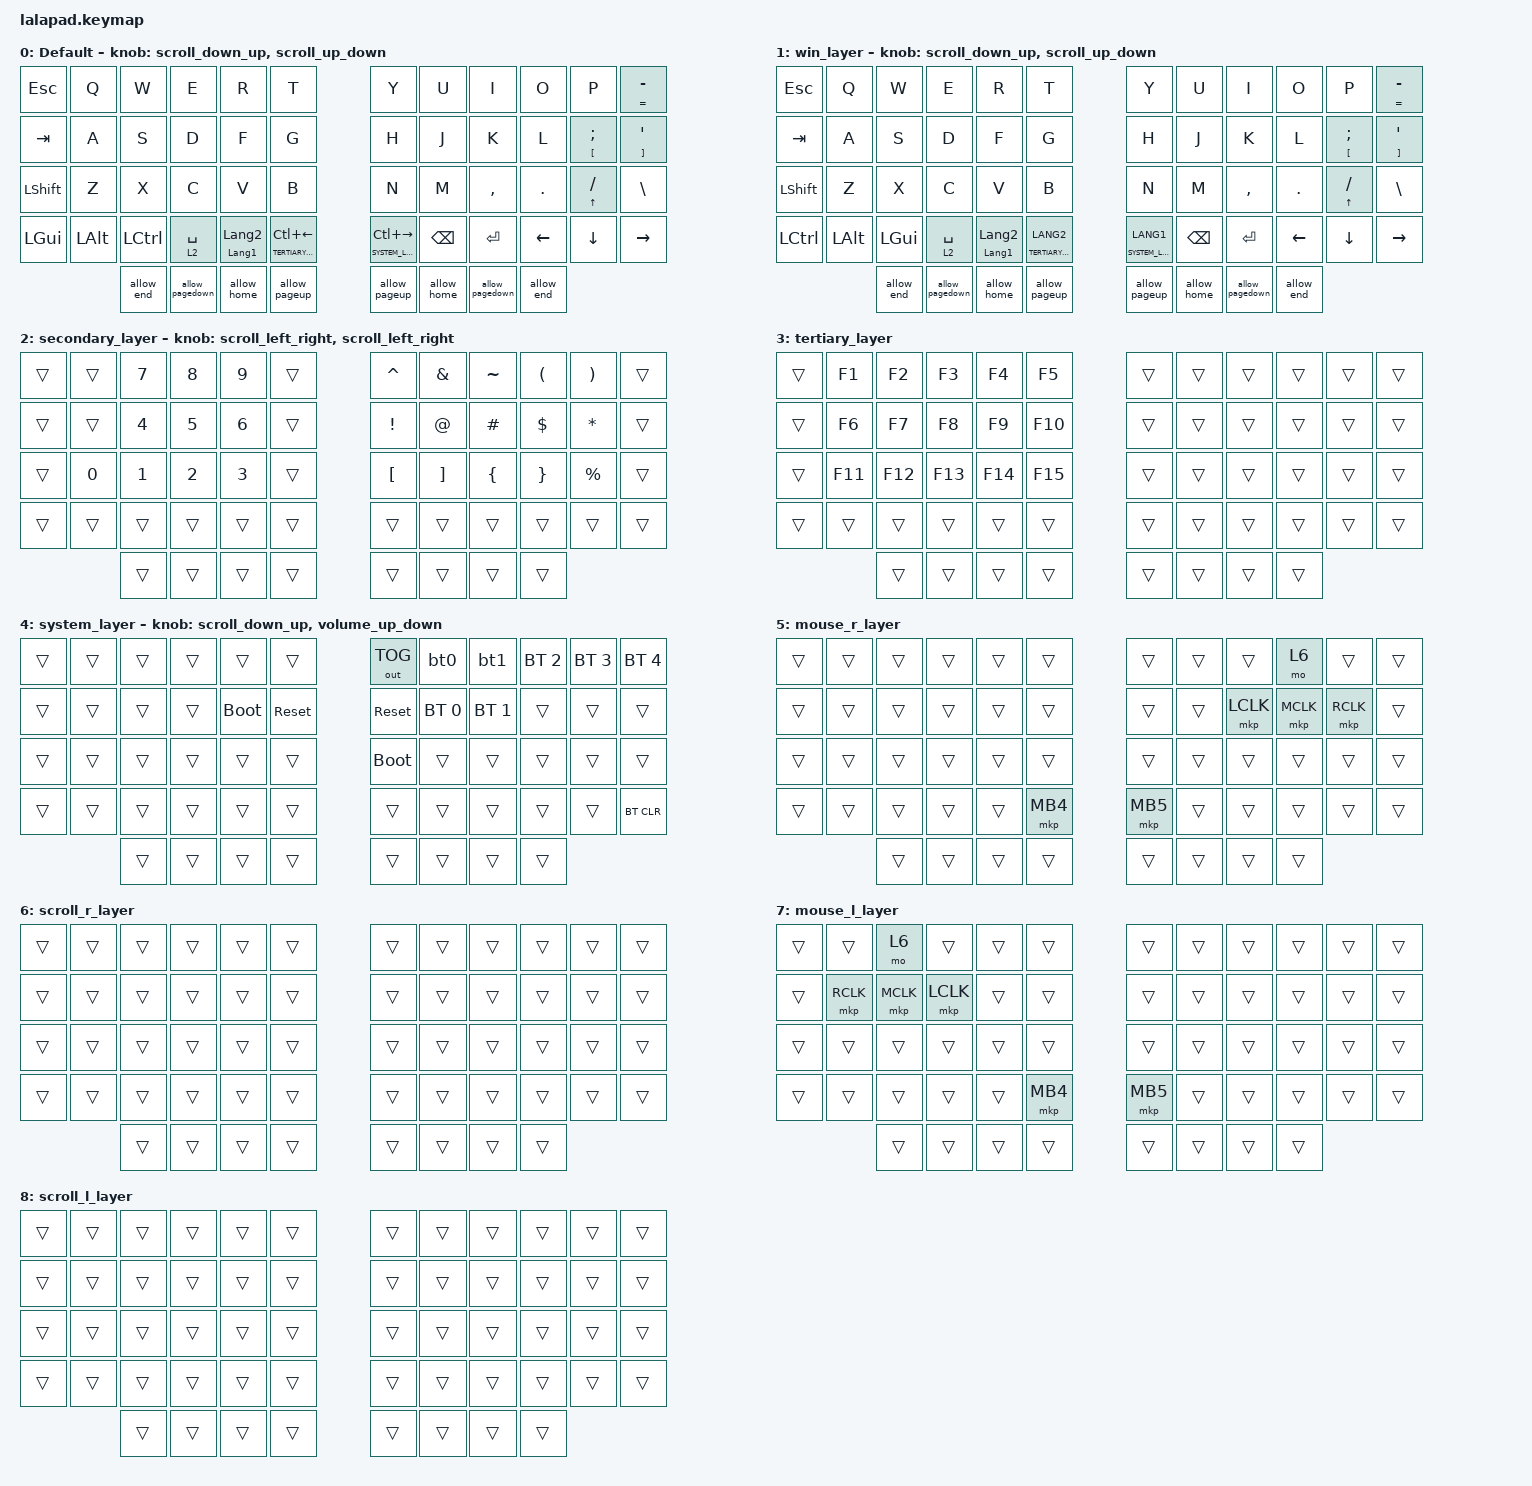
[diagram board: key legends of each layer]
#include <input/processors.dtsi>
#include <behaviors.dtsi>
#include <dt-bindings/zmk/bt.h>
#include <dt-bindings/zmk/keys.h>
#include <dt-bindings/zmk/outputs.h>
#include <dt-bindings/zmk/pointing.h>

#define DEFAULT_LAYER   0
#define WIN_LAYER       1
#define SECONDARY_LAYER 2
#define TERTIARY_LAYER  3
#define SYSTEM_LAYER    4
#define MOUSE_R_LAYER   5
#define SCROLL_R_LAYER  6
#define MOUSE_L_LAYER   7
#define SCROLL_L_LAYER  8

// Mouse Scroll Value

#define ZMK_POINTING_DEFAULT_SCRL_VAL 100

// cirque trackpad input&layer control

&glidepoint_listener_R {
    input-processors =
        <&zip_xy_transform (INPUT_TRANSFORM_XY_SWAP | INPUT_TRANSFORM_X_INVERT | INPUT_TRANSFORM_Y_INVERT)>,
        <&zip_xy_scaler 5 2>,
        <&zip_temp_layer MOUSE_R_LAYER 500>;

    lowspeedmode {
        layers = <SECONDARY_LAYER>;
        input-processors =
            <&zip_xy_transform (INPUT_TRANSFORM_XY_SWAP | INPUT_TRANSFORM_X_INVERT | INPUT_TRANSFORM_Y_INVERT)>,
            <&zip_xy_scaler 3 5>,
            <&zip_temp_layer MOUSE_R_LAYER 500>;
    };

    scroller {
        layers = <SCROLL_R_LAYER>;
        input-processors =
            <&zip_xy_to_scroll_mapper>,
            <&zip_scroll_transform (INPUT_TRANSFORM_XY_SWAP | INPUT_TRANSFORM_Y_INVERT)>,
            <&zip_scroll_scaler 1 8>;
    };
};

&glidepoint_listener_L {
    input-processors =
        <&zip_xy_transform (INPUT_TRANSFORM_XY_SWAP | INPUT_TRANSFORM_X_INVERT | INPUT_TRANSFORM_Y_INVERT)>,
        <&zip_xy_scaler 5 2>,
        <&zip_temp_layer MOUSE_L_LAYER 500>;

    lowspeedmode {
        layers = <SECONDARY_LAYER>;
        input-processors =
            <&zip_xy_transform (INPUT_TRANSFORM_XY_SWAP | INPUT_TRANSFORM_X_INVERT | INPUT_TRANSFORM_Y_INVERT)>,
            <&zip_xy_scaler 3 4>,
            <&zip_temp_layer MOUSE_L_LAYER 500>;
    };

    scroller {
        layers = <SCROLL_L_LAYER>;
        input-processors =
            <&zip_xy_to_scroll_mapper>,
            <&zip_scroll_transform (INPUT_TRANSFORM_XY_SWAP | INPUT_TRANSFORM_Y_INVERT)>,
            <&zip_scroll_scaler 1 6>;
    };
};

/ {
    behaviors {
        // Encoder to Mouse Scroll

        scroll_up_down: behavior_sensor_rotate_mouse_wheel_up_down {
            compatible = "zmk,behavior-sensor-rotate";
            #sensor-binding-cells = <0>;
            bindings = <&msc SCRL_UP>, <&msc SCRL_DOWN>;

            tap-ms = <20>;
        };

        scroll_down_up: behavior_sensor_rotate_mouse_wheel_down_up {
            compatible = "zmk,behavior-sensor-rotate";
            #sensor-binding-cells = <0>;
            bindings = <&msc SCRL_DOWN>, <&msc SCRL_UP>;

            tap-ms = <20>;
        };

        scroll_left_right: behavior_sensor_rotate_mouse_wheel_left_right {
            compatible = "zmk,behavior-sensor-rotate";
            #sensor-binding-cells = <0>;
            bindings = <&msc SCRL_LEFT>, <&msc SCRL_RIGHT>;

            tap-ms = <20>;
        };

        scroll_right_left: behavior_sensor_rotate_mouse_wheel_right_left {
            compatible = "zmk,behavior-sensor-rotate";
            #sensor-binding-cells = <0>;
            bindings = <&msc SCRL_RIGHT>, <&msc SCRL_LEFT>;

            tap-ms = <20>;
        };

        volume_up_down: behavior_sensor_rotate_volume_up_down {
            compatible = "zmk,behavior-sensor-rotate";
            #sensor-binding-cells = <0>;
            bindings = <&kp C_VOLUME_UP>, <&kp C_VOLUME_DOWN>;

            tap-ms = <20>;
        };

        dot_comma: dot_comma {
            compatible = "zmk,behavior-mod-morph";
            #binding-cells = <0>;
            bindings = <&kp KP_DOT>, <&kp COMMA>;

            mods = <(MOD_LSFT|MOD_RSFT)>;
            label = "DOT_COMMA";
        };

        pls_minus: pls_minus {
            compatible = "zmk,behavior-mod-morph";
            #binding-cells = <0>;
            bindings = <&kp PLUS>, <&kp MINUS>;

            mods = <(MOD_LSFT|MOD_RSFT)>;
            label = "PLS_MINUS";
        };

        allow_pageup: allow_pageup {
            compatible = "zmk,behavior-mod-morph";
            #binding-cells = <0>;
            bindings = <&kp UP>, <&kp PAGE_UP>;

            mods = <(MOD_LCTL|MOD_RCTL)>;
            label = "ALLOW_PAGEUP";
        };

        allow_pagedown: allow_pagedown {
            compatible = "zmk,behavior-mod-morph";
            #binding-cells = <0>;
            bindings = <&kp DOWN>, <&kp PAGE_DOWN>;

            mods = <(MOD_LCTL|MOD_RCTL)>;
            label = "ALLOW_PAGEDOWN";
        };

        allow_home: allow_home {
            compatible = "zmk,behavior-mod-morph";
            #binding-cells = <0>;
            bindings = <&kp LEFT>, <&kp HOME>;

            mods = <(MOD_LCTL|MOD_RCTL)>;
            label = "ALLOW_HOME";
        };

        allow_end: allow_end {
            compatible = "zmk,behavior-mod-morph";
            #binding-cells = <0>;
            bindings = <&kp RIGHT>, <&kp END>;

            mods = <(MOD_LCTL|MOD_RCTL)>;
            label = "ALLOW_END";
        };

        mt2: mod_tap2 {
            compatible = "zmk,behavior-hold-tap";
            #binding-cells = <2>;
            flavor = "tap-preferred";
            tapping-term-ms = <200>;
            quick-tap-ms = <200>;
            require-prior-idle-ms = <125>;
            bindings = <&kp>, <&kp>;
        };

        qtog_on: toggle_layer_on_only {
            compatible = "zmk,behavior-toggle-layer";
            #binding-cells = <1>;
            display-name = "Toggle Layer On";
            toggle-mode = "on";
        };

        tog_off: toggle_layer_off_only {
            compatible = "zmk,behavior-toggle-layer";
            #binding-cells = <1>;
            display-name = "Toggle Layer Off";
            toggle-mode = "off";
        };
    };

    macros {
        bt0: bt0 {
            compatible = "zmk,behavior-macro";
            #binding-cells = <0>;
            bindings =
                <&tog_off 0 &tog_off 1>,
                <&macro_wait_time 200>,
                <&bt BT_SEL 0>,
                <&macro_wait_time 500>,
                <&qtog_on 0>;

            label = "BT0";
        };

        bt1: bt1 {
            compatible = "zmk,behavior-macro";
            #binding-cells = <0>;
            bindings =
                <&tog_off 0 &tog_off 1>,
                <&macro_wait_time 200>,
                <&bt BT_SEL 1>,
                <&macro_wait_time 500>,
                <&qtog_on 1>;

            label = "BT1";
        };
    };

    keymap {
        compatible = "zmk,keymap";

        DEFAULT_LAYER {
            display-name = "Default";
            sensor-bindings = <&scroll_down_up>, <&scroll_up_down>;

            bindings = <
&kp ESCAPE    &kp Q         &kp W             &kp E            &kp R                      &kp T                              &kp Y                             &kp U          &kp I            &kp O       &kp P           &mt EQUAL MINUS
&kp TAB       &kp A         &kp S             &kp D            &kp F                      &kp G                              &kp H                             &kp J          &kp K            &kp L       &mt2 LBKT SEMI  &mt2 RBKT SQT
&kp LSHFT     &kp Z         &kp X             &kp C            &kp V                      &kp B                              &kp N                             &kp M          &kp COMMA        &kp PERIOD  &mt2 UP SLASH   &kp BSLH
&kp LEFT_GUI  &kp LEFT_ALT  &kp LEFT_CONTROL  &lt 2 SPACE      &mt LANGUAGE_1 LANGUAGE_2  &lt TERTIARY_LAYER LC(LEFT_ARROW)  &lt SYSTEM_LAYER LC(RIGHT_ARROW)  &kp BACKSPACE  &kp RET          &kp LEFT    &kp DOWN        &kp RIGHT
                            &allow_end        &allow_pagedown  &allow_home                &allow_pageup                      &allow_pageup                     &allow_home    &allow_pagedown  &allow_end
            >;
        };

        WIN_LAYER {
            display-name = "win_layer";
            sensor-bindings = <&scroll_down_up>, <&scroll_up_down>;

            bindings = <
&kp ESCAPE        &kp Q         &kp W         &kp E            &kp R                      &kp T                     &kp Y                   &kp U          &kp I            &kp O       &kp P           &mt EQUAL MINUS
&kp TAB           &kp A         &kp S         &kp D            &kp F                      &kp G                     &kp H                   &kp J          &kp K            &kp L       &mt2 LBKT SEMI  &mt2 RBKT SQT
&kp LSHFT         &kp Z         &kp X         &kp C            &kp V                      &kp B                     &kp N                   &kp M          &kp COMMA        &kp PERIOD  &mt2 UP SLASH   &kp BSLH
&kp LEFT_CONTROL  &kp LEFT_ALT  &kp LEFT_GUI  &lt 2 SPACE      &mt LANGUAGE_1 LANGUAGE_2  &lt TERTIARY_LAYER LANG2  &lt SYSTEM_LAYER LANG1  &kp BACKSPACE  &kp RET          &kp LEFT    &kp DOWN        &kp RIGHT
                                &allow_end    &allow_pagedown  &allow_home                &allow_pageup             &allow_pageup           &allow_home    &allow_pagedown  &allow_end
            >;
        };

        SECONDARY_LAYER {
            display-name = "secondary_layer";
            sensor-bindings = <&scroll_left_right>, <&scroll_left_right>;

            bindings = <
&trans  &trans        &kp N7        &kp N8        &kp N9        &trans  &kp CARET         &kp AMPERSAND      &kp TILDE       &kp LEFT_PARENTHESIS  &kp RIGHT_PARENTHESIS  &trans
&trans  &trans        &kp NUMBER_4  &kp N5        &kp NUMBER_6  &trans  &kp EXCLAMATION   &kp AT_SIGN        &kp HASH        &kp DLLR              &kp ASTRK              &trans
&trans  &kp NUMBER_0  &kp NUMBER_1  &kp NUMBER_2  &kp NUMBER_3  &trans  &kp LEFT_BRACKET  &kp RIGHT_BRACKET  &kp LEFT_BRACE  &kp RIGHT_BRACE       &kp PERCENT            &trans
&trans  &trans        &trans        &trans        &trans        &trans  &trans            &trans             &trans          &trans                &trans                 &trans
                      &trans        &trans        &trans        &trans  &trans            &trans             &trans          &trans
            >;
        };

        TERTIARY_LAYER {
            display-name = "tertiary_layer";
            bindings = <
&trans  &kp F1   &kp F2   &kp F3   &kp F4   &kp F5   &trans  &trans  &trans  &trans  &trans  &trans
&trans  &kp F6   &kp F7   &kp F8   &kp F9   &kp F10  &trans  &trans  &trans  &trans  &trans  &trans
&trans  &kp F11  &kp F12  &kp F13  &kp F14  &kp F15  &trans  &trans  &trans  &trans  &trans  &trans
&trans  &trans   &trans   &trans   &trans   &trans   &trans  &trans  &trans  &trans  &trans  &trans
                 &trans   &trans   &trans   &trans   &trans  &trans  &trans  &trans
            >;
        };

        SYSTEM_LAYER {
            display-name = "system_layer";
            sensor-bindings = <&scroll_down_up>, <&volume_up_down>;

            bindings = <
&trans  &trans  &trans  &trans  &trans       &trans      &out OUT_TOG  &bt0          &bt1          &bt BT_SEL 2  &bt BT_SEL 3  &bt BT_SEL 4
&trans  &trans  &trans  &trans  &bootloader  &sys_reset  &sys_reset    &bt BT_SEL 0  &bt BT_SEL 1  &trans        &trans        &trans
&trans  &trans  &trans  &trans  &trans       &trans      &bootloader   &trans        &trans        &trans        &trans        &trans
&trans  &trans  &trans  &trans  &trans       &trans      &trans        &trans        &trans        &trans        &trans        &bt BT_CLR
                &trans  &trans  &trans       &trans      &trans        &trans        &trans        &trans
            >;
        };

        MOUSE_R_LAYER {
            display-name = "mouse_r_layer";
            bindings = <
&trans  &trans  &trans  &trans  &trans  &trans    &trans    &trans  &trans     &mo 6      &trans     &trans
&trans  &trans  &trans  &trans  &trans  &trans    &trans    &trans  &mkp LCLK  &mkp MCLK  &mkp RCLK  &trans
&trans  &trans  &trans  &trans  &trans  &trans    &trans    &trans  &trans     &trans     &trans     &trans
&trans  &trans  &trans  &trans  &trans  &mkp MB4  &mkp MB5  &trans  &trans     &trans     &trans     &trans
                &trans  &trans  &trans  &trans    &trans    &trans  &trans     &trans
            >;
        };

        SCROLL_R_LAYER {
            display-name = "scroll_r_layer";
            bindings = <
&trans  &trans  &trans  &trans  &trans  &trans  &trans  &trans  &trans  &trans  &trans  &trans
&trans  &trans  &trans  &trans  &trans  &trans  &trans  &trans  &trans  &trans  &trans  &trans
&trans  &trans  &trans  &trans  &trans  &trans  &trans  &trans  &trans  &trans  &trans  &trans
&trans  &trans  &trans  &trans  &trans  &trans  &trans  &trans  &trans  &trans  &trans  &trans
                &trans  &trans  &trans  &trans  &trans  &trans  &trans  &trans
            >;
        };

        MOUSE_L_LAYER {
            display-name = "mouse_l_layer";
            bindings = <
&trans  &trans     &mo 6      &trans     &trans  &trans    &trans    &trans  &trans  &trans  &trans  &trans
&trans  &mkp RCLK  &mkp MCLK  &mkp LCLK  &trans  &trans    &trans    &trans  &trans  &trans  &trans  &trans
&trans  &trans     &trans     &trans     &trans  &trans    &trans    &trans  &trans  &trans  &trans  &trans
&trans  &trans     &trans     &trans     &trans  &mkp MB4  &mkp MB5  &trans  &trans  &trans  &trans  &trans
                   &trans     &trans     &trans  &trans    &trans    &trans  &trans  &trans
            >;
        };

        SCROLL_L_LAYER {
            display-name = "scroll_l_layer";
            bindings = <
&trans  &trans  &trans  &trans  &trans  &trans  &trans  &trans  &trans  &trans  &trans  &trans
&trans  &trans  &trans  &trans  &trans  &trans  &trans  &trans  &trans  &trans  &trans  &trans
&trans  &trans  &trans  &trans  &trans  &trans  &trans  &trans  &trans  &trans  &trans  &trans
&trans  &trans  &trans  &trans  &trans  &trans  &trans  &trans  &trans  &trans  &trans  &trans
                &trans  &trans  &trans  &trans  &trans  &trans  &trans  &trans
            >;
        };
    };
};
